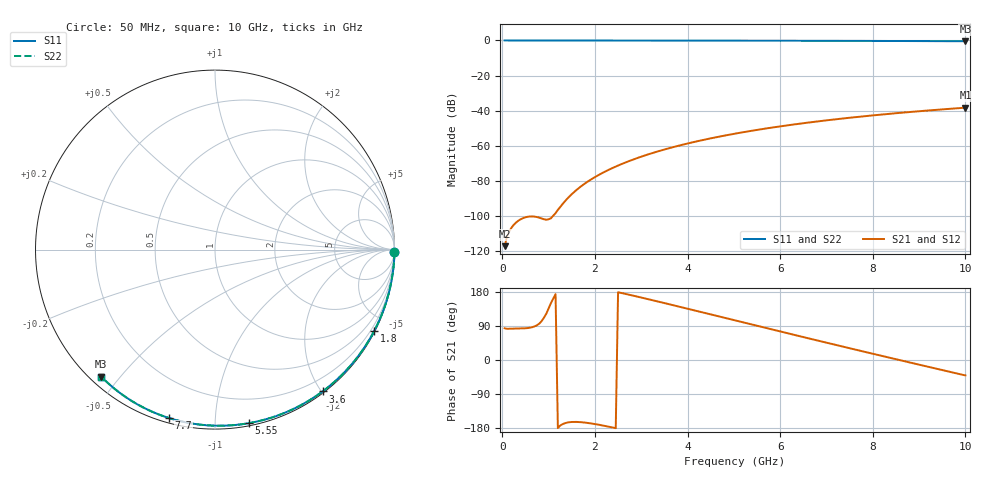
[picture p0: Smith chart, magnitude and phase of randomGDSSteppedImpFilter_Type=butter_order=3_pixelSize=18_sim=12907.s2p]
! freq	dB(S11)	phase(S11)	dB(S12)	phase(S12)
!  dB(S21)	phase(S21)	dB(S22)	phase(S22)
!S-par simulation data
#  GHz  S  DB  R 50
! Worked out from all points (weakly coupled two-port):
!   200 points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, 50 MHz to 10 GHz, reference 50 ohm
!   highest |S21| = -38.36 dB at 10 GHz (marker M1); lowest = -117.4 dB at 50 MHz (marker M2)
!   lowest |S11| = -0.4 dB at 10 GHz (marker M3), VSWR 38.95, Z = 1.54 - j22.3 ohm
!   |S11| at or under -10 dB: nowhere
!   |S22| runs from -0.4 to 0.0 dB; largest |S21 - S12| = 0
!   S11 on the Smith chart (normalised r, x): 50 MHz: open; 1.8 GHz: 0.04, -4.16; 3.6 GHz: 0.02, -2.01; 5.55 GHz: 0.02, -1.21; 7.7 GHz: 0.02, -0.76; 10 GHz: 0.03, -0.45
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0.05  -0.00 -0.8  -117.37 83.7  -117.37 83.7  -0.00 -0.8
0.9  -0.02 -13.6  -102.03 111.8  -102.03 111.8  -0.02 -13.6
1.75  -0.03 -26.3  -82.25 -164.7  -82.25 -164.7  -0.03 -26.3
1.8  -0.03 -27.0  -81.32 -165.4  -81.32 -165.4  -0.03 -27.0
1.85  -0.04 -27.8  -80.43 -166.2  -80.43 -166.2  -0.04 -27.8
1.9  -0.04 -28.5  -79.58 -167.1  -79.58 -167.1  -0.04 -28.5
2.05  -0.04 -30.7  -77.20 -170.1  -77.20 -170.1  -0.04 -30.7
2.25  -0.04 -33.6  -74.41 -174.8  -74.41 -174.8  -0.04 -33.6
2.45  -0.05 -36.5  -71.93 -179.9  -71.93 -179.9  -0.05 -36.5
2.65  -0.05 -39.4  -69.72 174.7  -69.72 174.7  -0.05 -39.4
3  -0.06 -44.4  -66.31 164.9  -66.31 164.9  -0.06 -44.4
3.4  -0.07 -50.1  -62.98 153.2  -62.98 153.2  -0.07 -50.1
3.6  -0.07 -52.8  -61.49 147.3  -61.49 147.3  -0.07 -52.8
4.3  -0.09 -62.5  -56.98 126.4  -56.98 126.4  -0.09 -62.5
5.05  -0.11 -72.4  -53.05 103.8  -53.05 103.8  -0.11 -72.4
5.55  -0.13 -78.9  -50.82 88.8  -50.82 88.8  -0.13 -78.9
6.1  -0.15 -85.9  -48.64 72.4  -48.64 72.4  -0.15 -85.9
6.7  -0.18 -93.3  -46.54 54.6  -46.54 54.6  -0.18 -93.3
7.7  -0.24 -105.4  -43.55 25.2  -43.55 25.2  -0.24 -105.4
8.35  -0.29 -113.0  -41.87 6.4  -41.87 6.4  -0.29 -113.0
9.15  -0.36 -122.2  -40.05 -16.6  -40.05 -16.6  -0.36 -122.2
10  -0.45 -131.8  -38.36 -40.8  -38.36 -40.8  -0.45 -131.8
